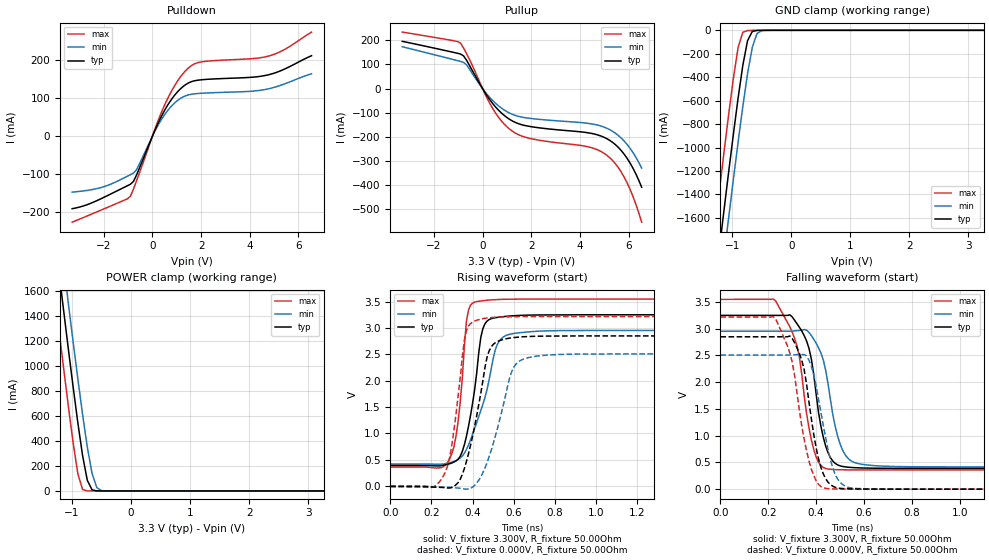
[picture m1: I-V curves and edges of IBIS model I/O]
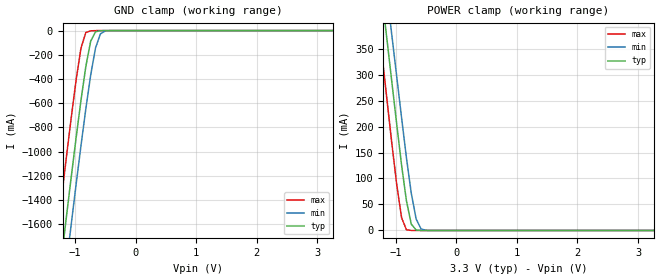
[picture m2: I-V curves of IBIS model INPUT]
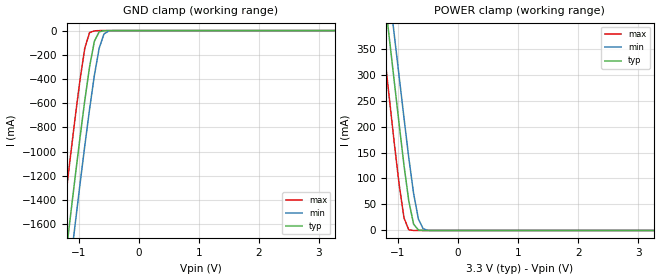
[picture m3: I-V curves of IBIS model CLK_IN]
| 42s16160g_t.ibs * IBIS 4.2 Model
| 256Mb SDRAM - Die Revision "A"
| Valid for SDR-133, SDR-143 and SDR-166 operation
| Package : 54-TSOP
[IBIS Ver]   4.2
[File name]   42s16160g-83200g_t.ibs
[Date]   11/02/2011
[File Rev]   1.1
[Source]   From silicon level SPICE model at ISSI Inc.
[Disclaimer]  This software code and all associated documentation, comments
              or other information (collectively "Software") is provided
              "AS IS" without warranty of any kind. ISSI INC.
              ISSI EXPRESSLY DISCLAIMS ALL WARRANTIES EXPRESS OR IMPLIED,
              INCLUDING BUT NOT LIMITED TO, NONINFRINGEMENT OF THIRD PARTY
              RIGHTS, AND ANY IMPLIED WARRANTIES OF MERCHANTABILITY OR
              FITNESS FOR ANY PARTICULAR PURPOSE. ISSI DOES NOT WARRANT THAT
              THE SOFTWARE WILL MEET YOUR REQUIREMENTS, OR THAT THE
              OPERATION OF THE SOFTWARE WILL BE UNINTERRUPTED OR ERROR-FREE.
              FURTHERMORE, ISSI DOES NOT MAKE ANY REPRESENTATIONS REGARDING
              THE USE OR THE RESULTS OF THE USE OF THE SOFTWARE IN TERMS OF
              ITS CORRECTNESS, ACCURACY, RELIABILITY, OR OTHERWISE. THE
              ENTIRE RISK ARISING OUT OF USE OR PERFORMANCE OF THE SOFTWARE
              REMAINS WITH YOU. IN NO EVENT SHALL ISSI, ITS AFFILIATED
              COMPANIES OR THEIR SUPPLIERS BE LIABLE FOR ANY DIRECT,
              INDIRECT, CONSEQUENTIAL, INCIDENTAL, OR SPECIAL DAMAGES
              (INCLUDING, WITHOUT LIMITATION, DAMAGES FOR LOSS OF PROFITS,
              BUSINESS INTERRUPTION, OR LOSS OF INFORMATION) ARISING OUT OF
              YOUR USE OF OR INABILITY TO USE THE SOFTWARE, EVEN IF MTI HAS
              BEEN ADVISED OF THE POSSIBILITY OF SUCH DAMAGES. Because some
              jurisdictions prohibit the exclusion or limitation of
              liability for consequential or incidental damages, the above
              limitation may not apply to you.
[Copyright]   Copyright c 2011 Integrated Silicon Solution, Inc. All rights reserved.
[Notes]   Revision History:
|   COMPONENT: 16Mx16 SDRAM
[Component]  42s16160g
[Manufacturer]  ISSI
[Package]
|   TSOP
| variable   typ   min   max
R_pkg   35.00m   35.00m   35.00m
L_pkg   4.30nH   4.30nH   4.30nH
C_pkg   0.70pF   0.70pF   0.70pF
[Pin]   signal_name   model_name
  1   VDD   POWER
  2   DQ0   I/O
  3   VDDQ   POWER
  4   DQ1   I/O
  5   DQ2   I/O
  6   VSSQ   GND
  7   DQ3   I/O
  8   DQ4   I/O
  9   VDDQ   POWER
 10   DQ5   I/O
 11   DQ6   I/O
 12   VSSQ   GND
 13   DQ7   I/O
 14   VDD   POWER
 15   LDQM   INPUT
 16   /WE   INPUT
 17   /CAS   INPUT
 18   /RAS   INPUT
 19   /CS   INPUT
 20   BA0   INPUT
 21   BA1   INPUT
 22   A10   INPUT
 23   A0   INPUT
 24   A1   INPUT
 25   A2   INPUT
 26   A3   INPUT
 27   VDD   POWER
 28   VSS   GND
 29   A4   INPUT
 30   A5   INPUT
 31   A6   INPUT
 32   A7   INPUT
 33   A8   INPUT
 34   A9   INPUT
 35   A11   INPUT
 36   A12   INPUT
 37   CKE   INPUT
 38   CLK   INPUT
 39   UDQM   INPUT
 40   NC   NC
 41   VSS   GND
 42   DQ8   I/O
 43   VDDQ   POWER
 44   DQ9   I/O
 45   DQ10   I/O
 46   VSSQ   GND
 47   DQ11   I/O
 48   DQ12   I/O
 49   VDDQ   POWER
 50   DQ13   I/O
 51   DQ14   I/O
 52   VSSQ   GND
 53   DQ15   I/O
 54   VSS   GND
|   COMPONENT: 32Mx8 SDRAM
[Component]  42s83200g
[Manufacturer]  ISSI
[Package]
|   TSOP
| variable   typ   min   max
R_pkg   35.00m   35.00m   35.00m
L_pkg   4.30nH   4.30nH   4.30nH
C_pkg   0.70pF   0.70pF   0.70pF
[Pin]   signal_name   model_name
  1   VDD   POWER
  2   DQ0   I/O
  3   VDDQ   POWER
  4   DQ1   I/O
  5   DQ2   I/O
  6   VSSQ   GND
  7   DQ3   I/O
  8   DQ4   I/O
  9   VDDQ   POWER
 10   DQ5   I/O
 11   DQ6   I/O
 12   VSSQ   GND
 13   DQ7   I/O
 14   VDD   POWER
 15   LDQM   INPUT
 16   /WE   INPUT
 17   /CAS   INPUT
 18   /RAS   INPUT
 19   /CS   INPUT
 20   BA0   INPUT
 21   BA1   INPUT
 22   A10   INPUT
 23   A0   INPUT
 24   A1   INPUT
 25   A2   INPUT
 26   A3   INPUT
 27   VDD   POWER
 28   VSS   GND
 29   A4   INPUT
 30   A5   INPUT
 31   A6   INPUT
 32   A7   INPUT
 33   A8   INPUT
 34   A9   INPUT
 35   A11   INPUT
 36   A12   INPUT
 37   CKE   INPUT
 38   CLK   CLK_IN
 39   UDQM   INPUT
 40   NC   NC
 41   VSS   GND
 42   DQ8   I/O
 43   VDDQ   POWER
 44   DQ9   I/O
 45   DQ10   I/O
 46   VSSQ   GND
 47   DQ11   I/O
 48   DQ12   I/O
 49   VDDQ   POWER
 50   DQ13   I/O
 51   DQ14   I/O
 52   VSSQ   GND
 53   DQ15   I/O
 54   VSS   GND
| Models and submodels in the file (3): I/O (I/O), INPUT (Input), CLK_IN (Input)
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| MODEL I/O
[Model] I/O
Model_type   I/O
Vinl = 800.000mV
Vinh = 2.000V
Vmeas = 1.500V
Cref = 50.000pF
|   typ   min   max
C_comp   1.9551pF   1.7551pF   2.1551pF
[Voltage Range]   3.300V   3.000V   3.600V
[Temperature Range]   40.0   105.0   -40.0
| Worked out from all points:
|   slope of the pulldown table from 0 to 0.495 V, typ, clamps not added: 7.35 ohm
|   slope of the pullup table from 0 to 0.495 V, typ, clamps not added: 6.9 ohm
|   GND clamp passes 1 mA (typ) near -0.58 V on its own axis
|   POWER clamp passes 1 mA (typ) near -0.58 V on its own axis
|   falling waveform, V_fixture 3.300V, R_fixture 50.00Ohm: 20-80 % time 63.6ps typ, 67ps min, 74.6ps max; typ from 3.25 V to 0.389 V
|   rising waveform, V_fixture 3.300V, R_fixture 50.00Ohm: 20-80 % time 63.8ps typ, 107ps min, 44ps max; typ from 0.389 V to 3.25 V
|   rising waveform, V_fixture 0.000V, R_fixture 50.00Ohm: 20-80 % time 84.7ps typ, 102ps min, 61.1ps max; typ from -0.007 V to 2.85 V
|   falling waveform, V_fixture 0.000V, R_fixture 50.00Ohm: 20-80 % time 62.5ps typ, 66.3ps min, 75.8ps max; typ from 2.85 V to 0 V
[Pulldown]
|   Voltage   I(typ)   I(min)   I(max)
-3.3V     -190.9mA   -147.2mA   -226.4mA
-2.1V     -164.2mA   -134.9mA   -194.3mA
-900mV    -126.3mA   -101.1mA   -157.7mA
-660mV    -103.3mA   -88.85mA   -118.7mA
180mV     27.04mA    22.92mA    32.01mA
540mV     72.49mA    60.18mA    87.49mA
1.02V     116.1mA    93.43mA    144.1mA
1.5V      140.9mA    109.2mA    180.9mA
2.1V      149.1mA    113.4mA    196.5mA
4.86V     163.3mA    126.1mA    212.6mA
5.46V     177.7mA    138.4mA    229.4mA
6.54V     212mA      164.5mA    274.2mA
[Pullup]
|   Voltage   I(typ)   I(min)   I(max)
-3.3V     196.3mA    173.8mA    234.7mA
-900mV    143.2mA    112.7mA    188.2mA
-660mV    118.2mA    98.98mA    146.1mA
420mV     -62.56mA   -50.1mA    -83.41mA
780mV     -102mA     -81.53mA   -134.9mA
1.26V     -136.5mA   -108.5mA   -179.5mA
2.1V      -160mA     -125.6mA   -210.5mA
4.38V     -184.6mA   -145.2mA   -243.1mA
5.1V      -207.8mA   -164.6mA   -276.6mA
5.82V     -272.6mA   -218mA     -367.8mA
6.18V     -330.5mA   -265.5mA   -447.4mA
6.54V     -410.1mA   -330.7mA   -555.4mA
[GND Clamp]
|  Voltage   I(typ)   I(min)   I(max)
-3.3V     -10.72A    -11.01A    -10.35A
-1.3V     -2.216A    -2.605A    -1.72A
-1.22V    -1.876A    -2.269A    -1.38A
-1.14V    -1.539A    -1.932A    -1.044A
-1.06V    -1.208A    -1.599A    -718.2mA
-900mV    -577.3mA   -952.7mA   -145.4mA
-820mV    -297.8mA   -647.9mA   -16.24mA
-740mV    -88.14mA   -369mA     -2.302mA
-660mV    -9.795mA   -144.7mA   -392.5uA
-580mV    -762.2uA   -27.44mA   -35.81uA
-500mV    -60.99uA   -2.795mA   -1.8uA
3.26V     27.82pA    190nA      14.4pA
[POWER Clamp]
|  Voltage   I(typ)   I(min)   I(max)
-3.3V     10.12A     10.42A     9.737A
-1.3V     2.073A     2.441A     1.608A
-1.22V    1.756A     2.124A     1.291A
-1.14V    1.442A     1.81A      978.7mA
-1.06V    1.133A     1.499A     674.2mA
-900mV    545mA      897mA      136.9mA
-820mV    283.3mA    612.6mA    11.46mA
-740mV    84.58mA    351.6mA    265.8uA
-660mV    8.636mA    140.1mA    6.953uA
-580mV    492.8uA    27.04mA    254.8nA
-500mV    27.06uA    2.722mA    10.8nA
3.26V     -20.62pA   -1.588uA   -16.44pA
[Ramp]
R_load = 50.00Ohm
|   typ   min   max
dV/dt_r   99.000mv/59.293ps 90.000mv/71.895ps 108.000mv/44.826ps
dV/dt_f   99.000mv/56.365ps 90.000mv/52.320ps 108.000mv/74.735ps
[Falling Waveform]
V_fixture = 3.300V
V_fixture_min = 3.000V
V_fixture_max = 3.600V
R_fixture = 50.00Ohm
|   Time   V(typ)   V(min)   V(max)
0s        3.249V     2.953V     3.548V
220ps     3.249V     2.953V     3.554V
300ps     3.221V     2.953V     2.935V
360ps     2.77V      2.973V     1.411V
390ps     2.141V     2.802V     740.9mV
420ps     1.172V     2.546V     443.9mV
460ps     586.9mV    1.66V      371.4mV
530ps     411.8mV    591.3mV    360.6mV
670ps     390.8mV    432.2mV    359mV
6.38ns    389mV      416.4mV    359mV
[Rising Waveform]
V_fixture = 3.300V
V_fixture_min = 3.000V
V_fixture_max = 3.600V
R_fixture = 50.00Ohm
|   Time   V(typ)   V(min)   V(max)
0s        389.1mV    416.3mV    358.1mV
280ps     411mV      431.7mV    456.6mV
330ps     508.4mV    503.2mV    1.233V
370ps     937.3mV    688.3mV    3.121V
380ps     1.128V     774.1mV    3.337V
440ps     2.821V     1.431V     3.512V
460ps     3.077V     1.677V     3.522V
530ps     3.206V     2.751V     3.54V
710ps     3.245V     2.936V     3.548V
6.38ns    3.249V     2.953V     3.548V
[Rising Waveform]
V_fixture = 0.000V
V_fixture_min = 0.000V
V_fixture_max = 0.000V
R_fixture = 50.00Ohm
|   Time   V(typ)   V(min)   V(max)
0s        -7.002mV   -3.041mV   -17.11mV
200ps     -20.77mV   -14.53mV   -29.87mV
260ps     -31.64mV   -23.2mV    201.6mV
300ps     -26.53mV   -31.63mV   797.1mV
370ps     460.9mV    -61.98mV   2.947V
460ps     2.243V     337.5mV    3.183V
500ps     2.686V     797.1mV    3.2V
600ps     2.817V     2.252V     3.214V
740ps     2.844V     2.478V     3.217V
6.38ns    2.848V     2.506V     3.218V
[Falling Waveform]
V_fixture = 0.000V
V_fixture_min = 0.000V
V_fixture_max = 0.000V
R_fixture = 50.00Ohm
|   Time   V(typ)   V(min)   V(max)
0s        2.848V     2.506V     3.218V
220ps     2.848V     2.506V     3.224V
300ps     2.818V     2.51V      2.375V
340ps     2.407V     2.515V     1.178V
370ps     1.626V     2.409V     526.7mV
410ps     564.8mV    1.676V     89.79mV
450ps     128.5mV    729.3mV    9.355mV
500ps     15.22mV    129mV      1.814mV
590ps     2.227mV    8.96mV     61.54uV
6.38ns    -357.5nV   -196.7nV   0V
| MODEL INPUT
[Model] INPUT
Model_type   Input
Vinl = 800.000mV
Vinh = 2.000V
|   typ   min   max
C_comp   1.0823pF   0.9323pF   1.2323pF
[Voltage Range]   3.300V   3.000V   3.600V
[Temperature Range]   40.0   105.0   -40.0
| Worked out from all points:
|   GND clamp passes 1 mA (typ) near -0.58 V on its own axis
|   POWER clamp passes 1 mA (typ) near -0.66 V on its own axis
[GND Clamp]
|  Voltage   I(typ)   I(min)   I(max)
-3.3V     -10.72A    -11.01A    -10.35A
-1.3V     -2.216A    -2.605A    -1.72A
-1.22V    -1.876A    -2.269A    -1.38A
-1.14V    -1.539A    -1.932A    -1.044A
-1.06V    -1.208A    -1.599A    -718.2mA
-900mV    -577.3mA   -952.7mA   -145.4mA
-820mV    -297.8mA   -647.9mA   -16.24mA
-740mV    -88.14mA   -369mA     -2.302mA
-660mV    -9.795mA   -144.7mA   -392.5uA
-580mV    -762.2uA   -27.44mA   -35.81uA
-500mV    -60.99uA   -2.795mA   -1.8uA
3.26V     27.82pA    190nA      14.4pA
[POWER Clamp]
|  Voltage   I(typ)   I(min)   I(max)
-3.3V     2.553A     2.586A     2.516A
-1.3V     528mA      611.6mA    418.1mA
-1.22V    447mA      532.7mA    334.2mA
-1.14V    366mA      453.7mA    250.3mA
-1.06V    285mA      374.7mA    166.7mA
-900mV    125.6mA    216.8mA    24.52mA
-820mV    56.95mA    139.8mA    1.302mA
-740mV    12.24mA    71.41mA    29.6uA
-660mV    962.1uA    22.13mA    776.7nA
-580mV    54.85uA    3.154mA    28.57nA
-500mV    3.019uA    301.5uA    1.231nA
3.26V     -1.193pA   -1.795uA   -433.4fA
| MODEL CLK_IN
[Model] CLK_IN
Model_type   Input
Vinl = 800.000mV
Vinh = 2.000V
|   typ   min   max
C_comp   1.4346pF   1.2846pF   1.5846pF
[Voltage Range]   3.300V   3.000V   3.600V
[Temperature Range]   40.0   105.0   -40.0
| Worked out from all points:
|   GND clamp passes 1 mA (typ) near -0.58 V on its own axis
|   POWER clamp passes 1 mA (typ) near -0.66 V on its own axis
[GND Clamp]
|   Voltage   I(typ)   I(min)   I(max)
-3.3V     -10.72A    -11.01A    -10.35A
-1.3V     -2.216A    -2.605A    -1.72A
-1.22V    -1.876A    -2.269A    -1.38A
-1.14V    -1.539A    -1.932A    -1.044A
-1.06V    -1.208A    -1.599A    -718.2mA
-900mV    -577.3mA   -952.7mA   -145.4mA
-820mV    -297.8mA   -647.9mA   -16.24mA
-740mV    -88.14mA   -369mA     -2.302mA
-660mV    -9.795mA   -144.7mA   -392.5uA
-580mV    -762.2uA   -27.44mA   -35.81uA
-500mV    -60.99uA   -2.795mA   -1.8uA
3.26V     27.82pA    190nA      14.4pA
[POWER Clamp]
|  Voltage   I(typ)   I(min)   I(max)
-3.3V     2.553A     2.586A     2.516A
-1.3V     528mA      611.6mA    418.1mA
-1.22V    447mA      532.7mA    334.2mA
-1.14V    366mA      453.7mA    250.3mA
-1.06V    285mA      374.7mA    166.7mA
-900mV    125.6mA    216.8mA    24.52mA
-820mV    56.95mA    139.8mA    1.302mA
-740mV    12.24mA    71.41mA    29.6uA
-660mV    962.1uA    22.13mA    776.7nA
-580mV    54.85uA    3.154mA    28.57nA
-500mV    3.019uA    301.5uA    1.231nA
3.26V     -1.193pA   -1.795uA   -433.4fA
